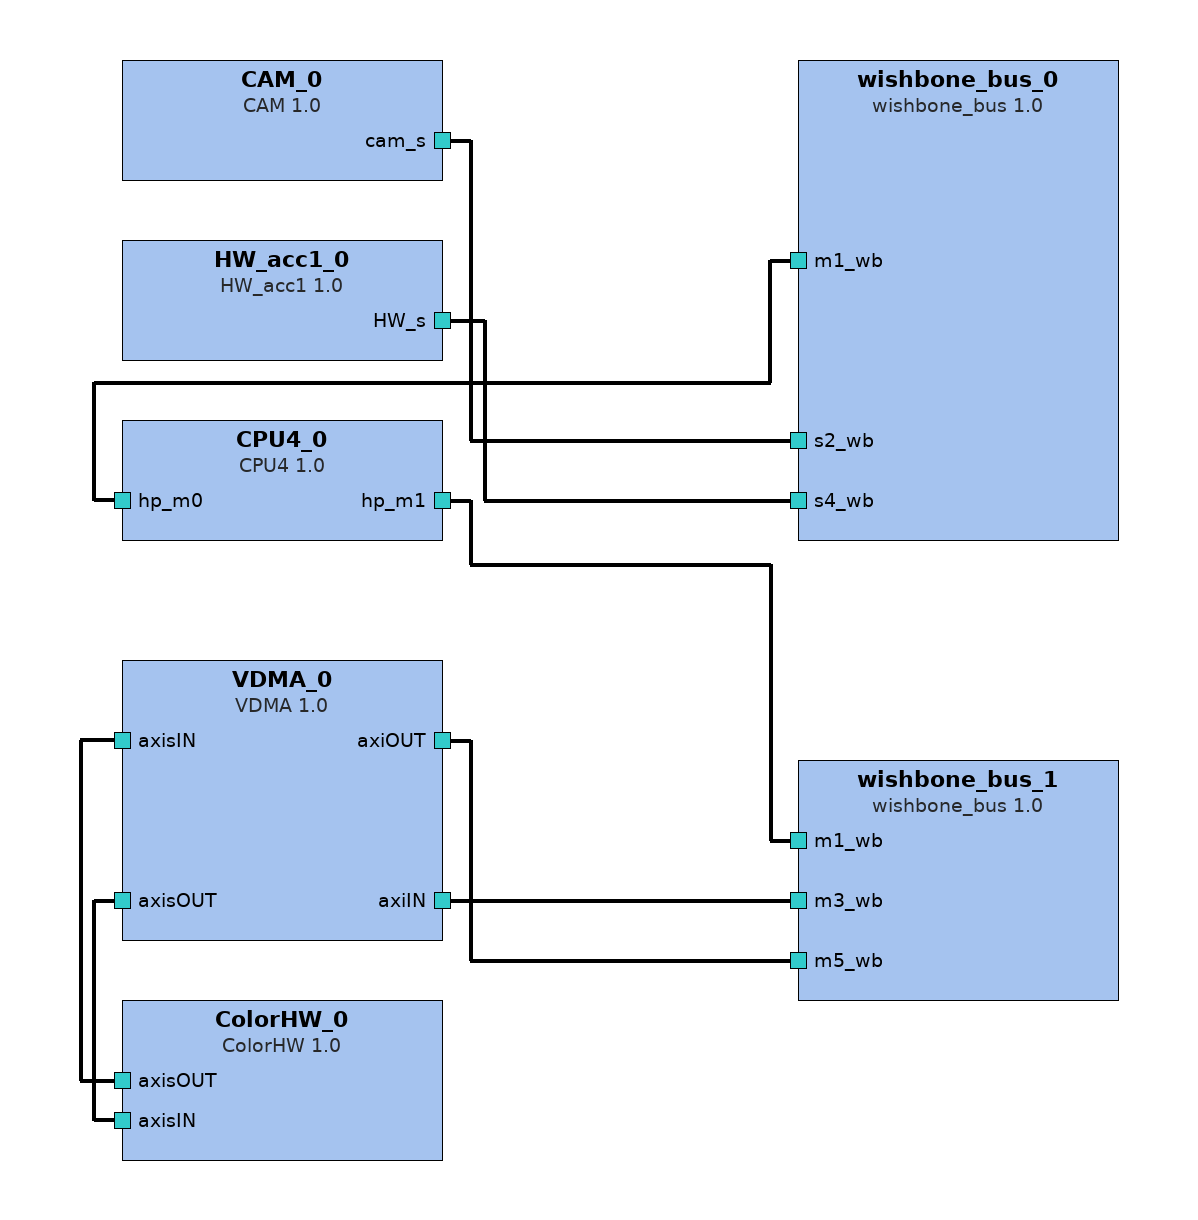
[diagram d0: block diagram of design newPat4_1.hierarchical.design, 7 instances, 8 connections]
<?xml version="1.0" encoding="UTF-8"?>
<!-- Created by Kactus210:29:01 13.06.2014 -->
<spirit:design xmlns:kactus2="http://funbase.cs.tut.fi/" xmlns:spirit="http://www.spiritconsortium.org/XMLSchema/SPIRIT/1.5" xmlns:xsi="http://www.w3.org/2001/XMLSchema-instance" xsi:schemaLocation="http://www.spiritconsortium.org/XMLSchema/SPIRIT/1.5 http://www.spiritconsortium.org/XMLSchema/SPIRIT/1.5/index.xsd"><spirit:vendor>TUM</spirit:vendor><spirit:library>soc</spirit:library><spirit:name>newPat4_1.hierarchical.design</spirit:name>
 <spirit:version>1.0</spirit:version><spirit:componentInstances>
 <spirit:componentInstance><spirit:instanceName>wishbone_bus_0</spirit:instanceName><spirit:componentRef spirit:vendor="TUM" spirit:library="soc" spirit:name="wishbone_bus" spirit:version="1.0"/></spirit:componentInstance>
 <spirit:componentInstance><spirit:instanceName>wishbone_bus_1</spirit:instanceName><spirit:componentRef spirit:vendor="TUM" spirit:library="soc" spirit:name="wishbone_bus" spirit:version="1.0"/></spirit:componentInstance>
 <spirit:componentInstance><spirit:instanceName>ColorHW_0</spirit:instanceName><spirit:componentRef spirit:vendor="TUM" spirit:library="soc" spirit:name="ColorHW" spirit:version="1.0"/></spirit:componentInstance>
 <spirit:componentInstance><spirit:instanceName>VDMA_0</spirit:instanceName><spirit:componentRef spirit:vendor="TUM" spirit:library="soc" spirit:name="VDMA" spirit:version="1.0"/></spirit:componentInstance>
 <spirit:componentInstance><spirit:instanceName>CPU4_0</spirit:instanceName><spirit:componentRef spirit:vendor="TUM" spirit:library="soc" spirit:name="CPU4" spirit:version="1.0"/></spirit:componentInstance>
 <spirit:componentInstance><spirit:instanceName>CAM_0</spirit:instanceName><spirit:componentRef spirit:vendor="TUM" spirit:library="soc" spirit:name="CAM" spirit:version="1.0"/></spirit:componentInstance>
 <spirit:componentInstance><spirit:instanceName>HW_acc1_0</spirit:instanceName><spirit:componentRef spirit:vendor="TUM" spirit:library="soc" spirit:name="HW_acc1" spirit:version="1.0"/></spirit:componentInstance>
</spirit:componentInstances><spirit:interconnections>
 <spirit:interconnection><spirit:name>VDMA_0_axiOUT_to_wishbone_bus_1_m5_wb</spirit:name><spirit:activeInterface spirit:componentRef="VDMA_0" spirit:busRef="axiOUT"/><spirit:activeInterface spirit:componentRef="wishbone_bus_1" spirit:busRef="m5_wb"/></spirit:interconnection>
 <spirit:interconnection><spirit:name>VDMA_0_axiIN_to_wishbone_bus_1_m3_wb</spirit:name><spirit:activeInterface spirit:componentRef="VDMA_0" spirit:busRef="axiIN"/><spirit:activeInterface spirit:componentRef="wishbone_bus_1" spirit:busRef="m3_wb"/></spirit:interconnection>
 <spirit:interconnection><spirit:name>ColorHW_0_axisIN_to_VDMA_0_axisOUT</spirit:name><spirit:activeInterface spirit:componentRef="ColorHW_0" spirit:busRef="axisIN"/><spirit:activeInterface spirit:componentRef="VDMA_0" spirit:busRef="axisOUT"/></spirit:interconnection>
 <spirit:interconnection><spirit:name>VDMA_0_axisIN_to_ColorHW_0_axisOUT</spirit:name><spirit:activeInterface spirit:componentRef="VDMA_0" spirit:busRef="axisIN"/><spirit:activeInterface spirit:componentRef="ColorHW_0" spirit:busRef="axisOUT"/></spirit:interconnection>
 <spirit:interconnection><spirit:name>CPU4_0_hp_m0_to_wishbone_bus_0_m1_wb</spirit:name><spirit:activeInterface spirit:componentRef="CPU4_0" spirit:busRef="hp_m0"/><spirit:activeInterface spirit:componentRef="wishbone_bus_0" spirit:busRef="m1_wb"/></spirit:interconnection>
 <spirit:interconnection><spirit:name>CAM_0_cam_s_to_wishbone_bus_0_s2_wb</spirit:name><spirit:activeInterface spirit:componentRef="CAM_0" spirit:busRef="cam_s"/><spirit:activeInterface spirit:componentRef="wishbone_bus_0" spirit:busRef="s2_wb"/></spirit:interconnection>
 <spirit:interconnection><spirit:name>HW_acc1_0_HW_s_to_wishbone_bus_0_s4_wb</spirit:name><spirit:activeInterface spirit:componentRef="HW_acc1_0" spirit:busRef="HW_s"/><spirit:activeInterface spirit:componentRef="wishbone_bus_0" spirit:busRef="s4_wb"/></spirit:interconnection>
 <spirit:interconnection><spirit:name>CPU4_0_hp_m1_to_wishbone_bus_1_m1_wb</spirit:name><spirit:activeInterface spirit:componentRef="CPU4_0" spirit:busRef="hp_m1"/><spirit:activeInterface spirit:componentRef="wishbone_bus_1" spirit:busRef="m1_wb"/></spirit:interconnection>
</spirit:interconnections></spirit:design>

